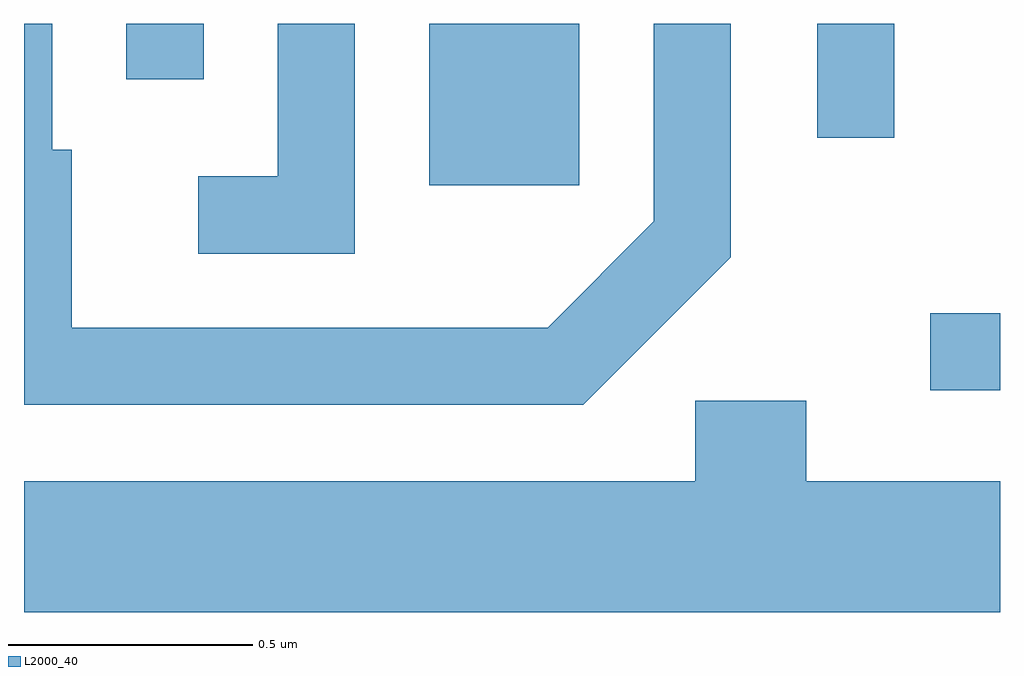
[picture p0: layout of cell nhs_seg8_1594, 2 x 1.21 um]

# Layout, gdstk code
import gdstk
lib = gdstk.Library(unit=1e-6, precision=1e-09)
def R(c, l, rs):  # rectangles x0, y0, x1, y1
    for r in rs: c.add(gdstk.rectangle(r[:2], r[2:], *l))
def P(c, l, *ps):  # polygons
    for p in ps: c.add(gdstk.Polygon(p, *l))
L2000_40 = (2000, 40)

nhs_seg8_1594 = lib.new_cell('nhs_seg8_1594')
R(nhs_seg8_1594, L2000_40, [(198.468,1894.591,198.611,1894.749), (197.441,1895.011,197.749,1895.342), (198.236,1895.108,198.394,1895.342), (196.821,1895.228,196.979,1895.342)])
P(nhs_seg8_1594, L2000_40, [(197.289,1895.342),(197.131,1895.342),(197.131,1895.029),(196.968,1895.029),(196.968,1894.871),(197.289,1894.871)],
  [(198.059,1894.864),(198.059,1895.342),(197.901,1895.342),(197.901,1894.937),(197.684,1894.719),(196.709,1894.719),(196.709,1895.084),(196.669,1895.084),(196.669,1895.342),(196.611,1895.342),(196.611,1894.561),(197.757,1894.561)],
  [(198.611,1894.404),(198.214,1894.404),(198.214,1894.569),(197.986,1894.569),(197.986,1894.404),(196.611,1894.404),(196.611,1894.136),(198.611,1894.136)])

lib.write_gds('nhs_seg8_1594.gds')
